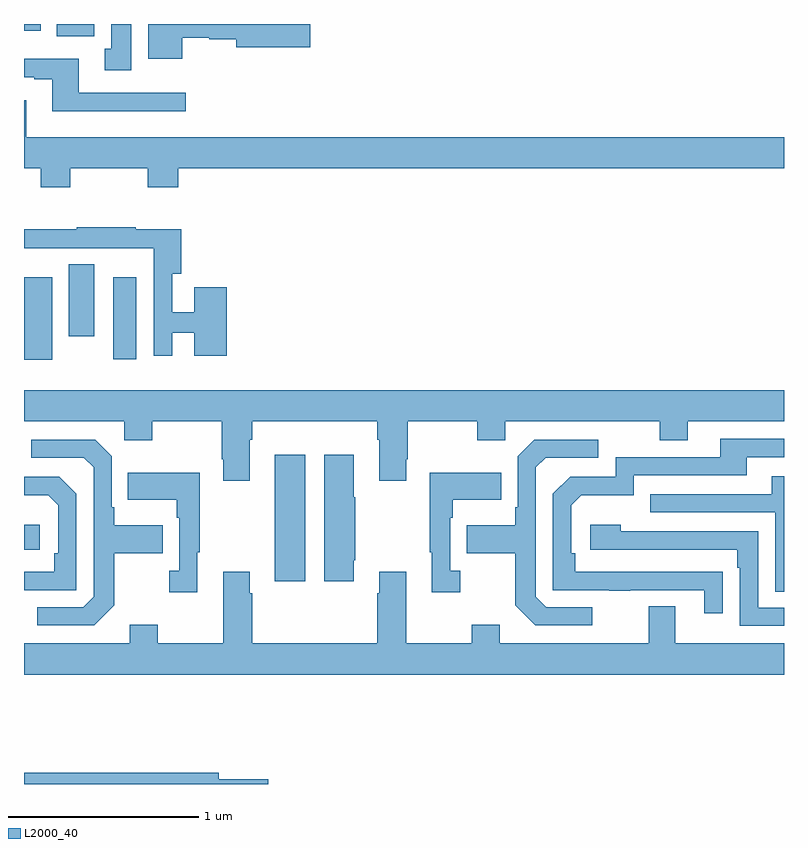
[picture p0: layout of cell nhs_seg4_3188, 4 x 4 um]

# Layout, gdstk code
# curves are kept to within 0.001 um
import gdstk
lib = gdstk.Library(unit=1e-6, precision=1e-09)
def R(c, l, rs):  # rectangles x0, y0, x1, y1
    for r in rs: c.add(gdstk.rectangle(r[:2], r[2:], *l))
def P(c, l, *ps):  # polygons
    for p in ps: c.add(gdstk.Polygon(p, *l))
L2000_40 = (2000, 40)

nhs_seg4_3188 = lib.new_cell('nhs_seg4_3188')
R(nhs_seg4_3188, L2000_40, [(280.319,807.966,280.48,808.633), (279,808.134,279.082,808.264), (279,809.133,279.148,809.566), (279.47,809.136,279.592,809.566), (279.236,809.256,279.37,809.636), (279.173,810.836,279.37,810.9), (279,810.864,279.088,810.9)])
P(nhs_seg4_3188, L2000_40, [(279.565,810.9),(279.458,810.9),(279.458,810.77),(279.425,810.77),(279.425,810.657),(279.565,810.657)],
  [(279.832,810.828),(279.975,810.828),(279.975,810.82),(280.118,810.82),(280.118,810.778),(280.507,810.778),(280.507,810.9),(279.653,810.9),(279.653,810.716),(279.832,810.716)],
  [(279.85,810.537),(279.289,810.537),(279.289,810.718),(279,810.718),(279,810.621),(279.053,810.621),(279.053,810.609),(279.149,810.609),(279.149,810.44),(279.85,810.44)],
  [(279.243,810.14),(279.652,810.14),(279.652,810.041),(279.812,810.041),(279.812,810.14),(283,810.14),(283,810.304),(279.013,810.304),(279.013,810.499),(279,810.499),(279,810.14),(279.088,810.14),(279.088,810.041),(279.243,810.041)],
  [(279.78,809.274),(279.896,809.274),(279.896,809.154),(280.067,809.154),(280.067,809.515),(279.896,809.515),(279.896,809.384),(279.78,809.384),(279.78,809.585),(279.827,809.585),(279.827,809.82),(279.587,809.82),(279.587,809.83),(279.277,809.83),(279.277,809.82),(279,809.82),(279,809.72),(279.14,809.72),(279.14,809.721),(279.474,809.721),(279.474,809.72),(279.684,809.72),(279.684,809.154),(279.78,809.154)],
  [(280.189,808.712),(280.202,808.712),(280.202,808.808),(280.859,808.808),(280.859,808.712),(280.871,808.712),(280.871,808.497),(281.011,808.497),(281.011,808.609),(281.019,808.609),(281.019,808.808),(281.386,808.808),(281.386,808.709),(281.532,808.709),(281.532,808.808),(282.346,808.808),(282.346,808.709),(282.493,808.709),(282.493,808.808),(283,808.808),(283,808.972),(279,808.972),(279,808.808),(279.528,808.808),(279.528,808.709),(279.675,808.709),(279.675,808.808),(280.042,808.808),(280.042,808.609),(280.049,808.609),(280.049,808.497),(280.189,808.497)],
  [(282.677,808.016),(281.9,808.017),(281.9,808.114),(281.88,808.114),(281.88,808.368),(281.933,808.421),(282.21,808.421),(282.21,808.524),(282.805,808.524),(282.805,808.62),(283,808.62),(283,808.716),(282.665,808.716),(282.665,808.62),(282.114,808.62),(282.114,808.518),(281.874,808.518),(281.784,808.428),(281.784,807.921),(282.079,807.921),(282.079,807.916),(282.191,807.916),(282.191,807.921),(282.581,807.921),(282.581,807.798),(282.677,807.798)],
  [(281.992,807.831),(281.748,807.831),(281.694,807.885),(281.694,808.566),(281.745,808.617),(282.022,808.617),(282.022,808.713),(281.685,808.713),(281.598,808.626),(281.598,808.357),(281.586,808.357),(281.586,808.261),(281.329,808.261),(281.329,808.114),(281.586,808.114),(281.586,807.841),(281.691,807.735),(281.992,807.735)],
  [(279.475,807.841),(279.475,808.114),(279.731,808.114),(279.731,808.261),(279.475,808.261),(279.475,808.357),(279.462,808.357),(279.462,808.626),(279.375,808.713),(279.039,808.713),(279.039,808.617),(279.315,808.617),(279.366,808.566),(279.366,807.885),(279.312,807.831),(279.069,807.831),(279.069,807.735),(279.369,807.735)],
  [(280.735,808.078),(280.743,808.078),(280.743,808.409),(280.735,808.409),(280.735,808.633),(280.58,808.633),(280.58,807.966),(280.735,807.966)],
  [(281.296,808.022),(281.244,808.022),(281.244,808.301),(281.257,808.301),(281.257,808.397),(281.513,808.397),(281.513,808.537),(281.136,808.537),(281.136,808.121),(281.147,808.121),(281.147,807.909),(281.296,807.909)],
  [(279.913,808.121),(279.925,808.121),(279.925,808.537),(279.547,808.537),(279.547,808.397),(279.804,808.397),(279.804,808.301),(279.816,808.301),(279.816,808.022),(279.765,808.022),(279.765,807.909),(279.913,807.909)],
  [(283,808.519),(282.935,808.519),(282.935,808.425),(282.295,808.425),(282.295,808.329),(282.954,808.329),(282.954,807.913),(283,807.913)],
  [(279.276,808.428),(279.186,808.518),(279,808.518),(279,808.421),(279.127,808.421),(279.18,808.368),(279.18,808.114),(279.16,808.114),(279.16,808.017),(279,808.017),(279,807.921),(279.276,807.921)],
  [(283,807.828),(282.864,807.828),(282.864,808.23),(282.14,808.23),(282.14,808.264),(281.979,808.264),(281.979,808.134),(282.755,808.134),(282.755,808.037),(282.768,808.037),(282.768,807.732),(283,807.732)],
  [(283,807.64),(282.427,807.64),(282.427,807.835),(282.287,807.835),(282.287,807.64),(281.503,807.64),(281.503,807.739),(281.356,807.739),(281.356,807.64),(281.011,807.64),(281.011,808.018),(280.871,808.018),(280.871,807.905),(280.859,807.905),(280.859,807.64),(280.202,807.64),(280.202,807.905),(280.189,807.905),(280.189,808.018),(280.049,808.018),(280.049,807.64),(279.705,807.64),(279.705,807.739),(279.557,807.739),(279.557,807.64),(279,807.64),(279,807.476),(283,807.476)],
  [(280.285,806.924),(280.024,806.924),(280.024,806.96),(279,806.96),(279,806.9),(280.285,806.9)])

lib.write_gds('nhs_seg4_3188.gds')
